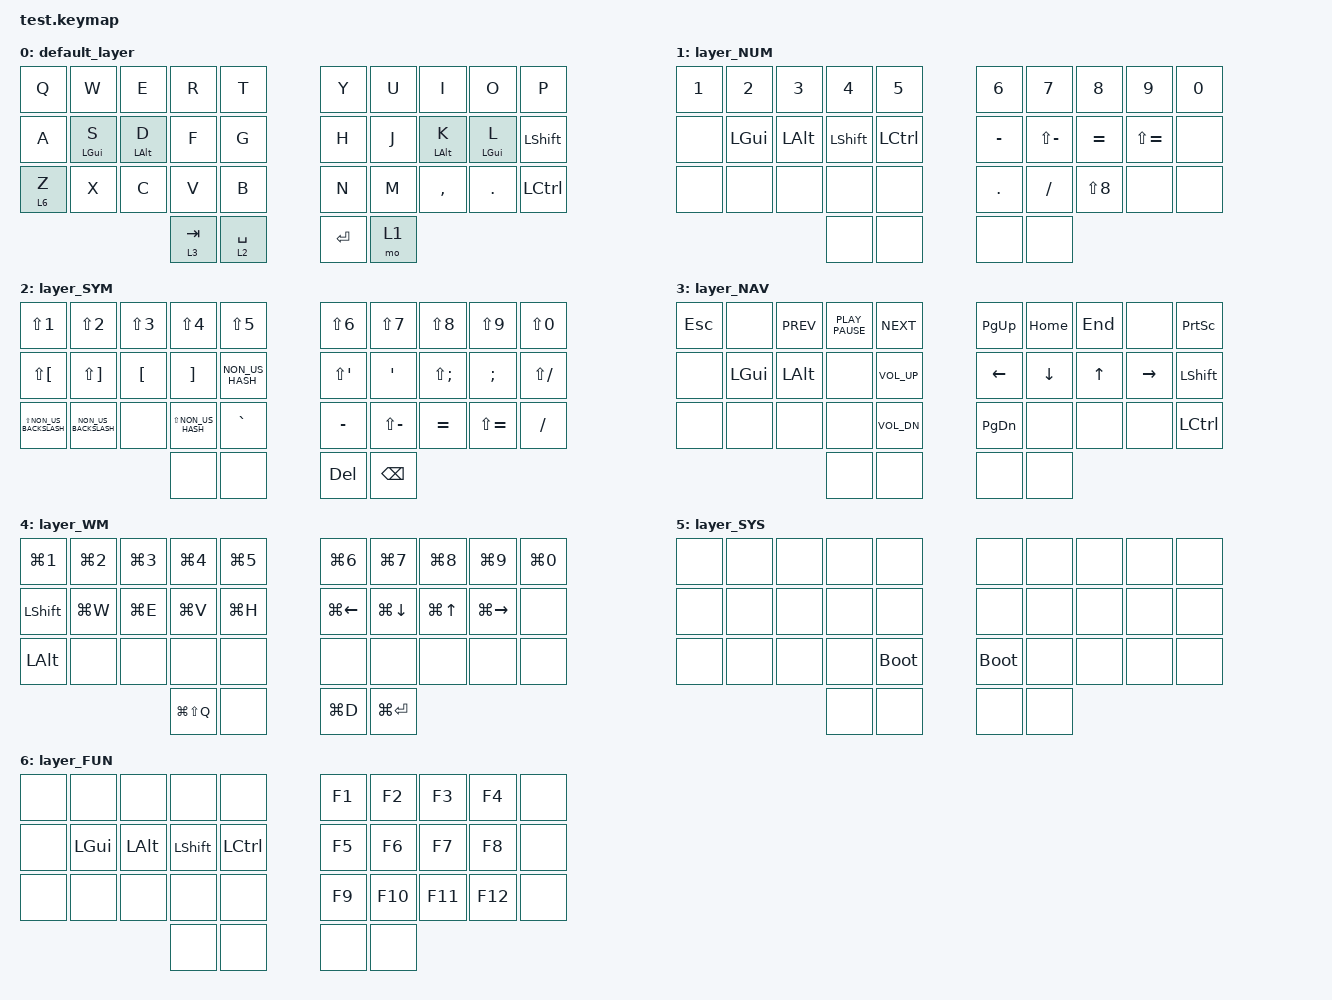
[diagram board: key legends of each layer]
#include <behaviors.dtsi>
#include <dt-bindings/zmk/keys.h>
#include <dt-bindings/zmk/bt.h>
#include "keys_en_gb_extended.h"

&mt {
	tapping-term-ms = <400>;
	flavor = "tap-preferred";
};

/ {

	combos {
		compatible = "zmk,combos";
		combo_system {
			timeout-ms = <50>;
			key-positions = <2 3 4>;
			layers = <0 5>;
			bindings = <&tog 5>;
		};
		combo_wm {
			timeout-ms = <50>;
			key-positions = <19 29>;
			layers = <0>;
			bindings = <&mo 4>;
		};
	};

	keymap {
		compatible = "zmk,keymap";

		default_layer {
			bindings = <
&kp Q       &kp W       &kp E       &kp R       &kp T                   &kp Y       &kp U       &kp I       &kp O       &kp P
&kp A       &mt LGUI S  &mt LALT D  &kp F       &kp G                   &kp H       &kp J       &mt LALT K  &mt LGUI L  &kp LSHIFT
&lt 6 Z     &kp X       &kp C       &kp V       &kp B                   &kp N       &kp M       &kp COMMA   &kp DOT     &kp LCTRL
                                    &lt 3 TAB   &lt 2 SPACE             &kp RET     &mo 1
			>;
		};

		layer_NUM {
			bindings = <
&kp N1        &kp N2        &kp N3        &kp N4        &kp N5                      &kp N6        &kp N7        &kp N8        &kp N9        &kp N0
&none         &kp LGUI      &kp LALT      &kp LSHIFT    &kp LCTRL                   &kp MINUS     &kp LS(MINUS) &kp EQUAL     &kp LS(EQUAL) &none
&none         &none         &none         &none         &none                       &kp PERIOD    &kp SLASH     &kp LS(N8)    &none         &none
                                          &none         &none                       &none         &none
			>;
		};

		layer_SYM {
			bindings = <
&kp LS(N1)               &kp LS(N2)               &kp LS(N3)               &kp LS(N4)               &kp LS(N5)                                        &kp LS(N6)               &kp LS(N7)               &kp LS(N8)               &kp LS(N9)               &kp LS(N0)
&kp LS(LEFT_BRACKET)     &kp LS(RIGHT_BRACKET)    &kp LEFT_BRACKET         &kp RIGHT_BRACKET        &kp NON_US_HASH                                   &kp LS(APOSTROPHE)       &kp APOSTROPHE           &kp LS(SEMICOLON)        &kp SEMICOLON            &kp LS(SLASH)
&kp LS(NON_US_BACKSLASH) &kp NON_US_BACKSLASH     &none                    &kp LS(NON_US_HASH)      &kp GRAVE                                         &kp MINUS                &kp LS(MINUS)            &kp EQUAL                &kp LS(EQUAL)            &kp SLASH
                                                                           &none                    &none                                             &kp DEL                  &kp BACKSPACE
			>;
		};

		layer_NAV {
			bindings = <
&kp ESCAPE       &none            &kp K_PREV       &kp K_PLAY_PAUSE &kp K_NEXT                        &kp PAGE_UP      &kp HOME         &kp END          &none            &kp PRINTSCREEN
&none            &kp LGUI         &kp LALT         &none            &kp K_VOL_UP                      &kp LEFT_ARROW   &kp DOWN_ARROW   &kp UP_ARROW     &kp RIGHT_ARROW  &kp LSHIFT
&none            &none            &none            &none            &kp K_VOL_DN                      &kp PAGE_DOWN    &none            &none            &none            &kp LCTRL
                                                   &none            &none                             &none            &none
			>;
		};

		layer_WM {
			bindings = <
&kp LG(N1)          &kp LG(N2)          &kp LG(N3)          &kp LG(N4)          &kp LG(N5)                              &kp LG(N6)          &kp LG(N7)          &kp LG(N8)          &kp LG(N9)          &kp LG(N0)
&kp LSHIFT          &kp LG(W)           &kp LG(E)           &kp LG(V)           &kp LG(H)                               &kp LG(LEFT_ARROW)  &kp LG(DOWN_ARROW)  &kp LG(UP_ARROW)    &kp LG(RIGHT_ARROW) &none
&kp LALT            &none               &none               &none               &none                                   &none               &none               &none               &none               &none
                                                            &kp LG(LS(Q))       &none                                   &kp LG(D)           &kp LG(ENTER)
			>;
		};

		layer_SYS {
			bindings = <
&none        &none        &none        &none        &none                     &none        &none        &none        &none        &none
&none        &none        &none        &none        &none                     &none        &none        &none        &none        &none
&none        &none        &none        &none        &bootloader               &bootloader  &none        &none        &none        &none
                                       &none        &none                     &none        &none
			>;
		};

		layer_FUN {
			bindings = <
&none      &none      &none      &none      &none                 &kp F1     &kp F2     &kp F3     &kp F4     &none
&none      &kp LGUI   &kp LALT   &kp LSHIFT &kp LCTRL             &kp F5     &kp F6     &kp F7     &kp F8     &none
&none      &none      &none      &none      &none                 &kp F9     &kp F10    &kp F11    &kp F12    &none
                                 &none      &none                 &none      &none
			>;
		};

	};
};

